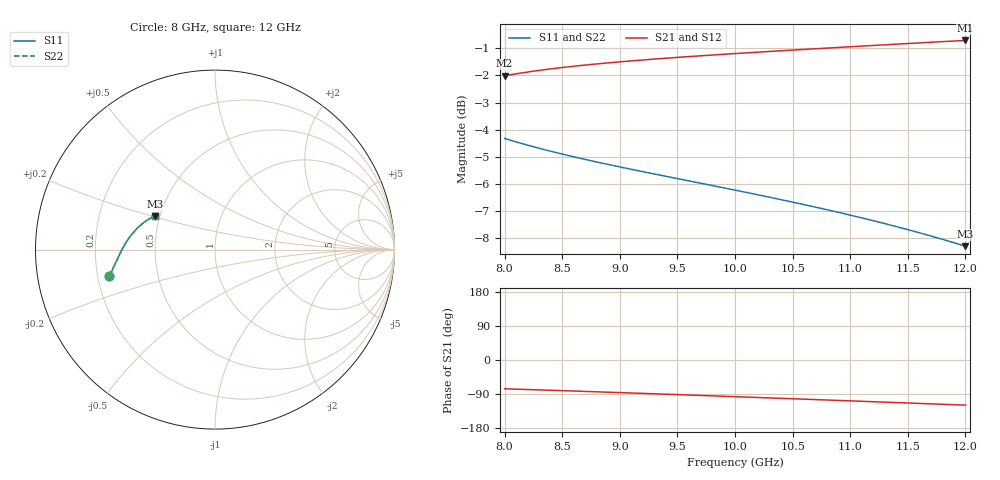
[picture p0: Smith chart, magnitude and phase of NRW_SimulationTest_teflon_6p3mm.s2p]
! Touchstone file exported from HFSS 2025.1.0
!  File:  C:/Users/njchorda/Downloads/NRW_SimulationTest.aedt
!  Generated:  02:25:31 AM Mar  2, 2026
!  Design:  HFSSDesign1
!  Project:  NRW_SimulationTest
!  Setup:  Setup1
!  Solution:  Sweep
! Variables:
!  Lfeed = 10mm
!  a = 22.86mm
!  b = 10.16mm
!  d = 6.3mm
!Data is not renormalized
# GHz S MA
! Terminal data exported
! Port[1] = 1
! Port[2] = 2
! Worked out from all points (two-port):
!   401 points, 8 GHz to 12 GHz, reference per port
!   highest |S21| = -0.70 dB at 12 GHz (marker M1); lowest = -2.0 dB at 8 GHz (marker M2)
!   |S21| within 3 dB of the highest: start of sweep to end of sweep
!   lowest |S11| = -8.3 dB at 12 GHz (marker M3), VSWR 2.25
!   |S11| at or under -10 dB: nowhere
!   |S22| runs from -8.3 to -4.3 dB; largest |S21 - S12| = 1.6e-14
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8  0.6073 -166.1  0.7934 -76.0  0.7934 -76.0  0.6073 -166.1
! Gamma 0 96.0523868093574 0 96.0524692737329
! Port Impedance 584.541451814304 0 584.535551075933 0
8.02  0.6055 -166.3  0.7948 -76.2  0.7948 -76.2  0.6055 -166.3
8.11  0.5976 -167.1  0.8007 -77.0  0.8007 -77.0  0.5976 -167.1
8.29  0.5832 -168.8  0.8112 -78.8  0.8112 -78.8  0.5832 -168.8
8.48  0.5696 -170.7  0.8209 -80.6  0.8209 -80.6  0.5696 -170.7
8.67  0.5573 -172.7  0.8293 -82.6  0.8293 -82.6  0.5573 -172.7
8.83  0.5476 -174.3  0.8357 -84.2  0.8357 -84.2  0.5476 -174.3
9  0.538 -176.1  0.8419 -86.0  0.8419 -86.0  0.538 -176.1
9.17  0.5288 -177.9  0.8477 -87.8  0.8477 -87.8  0.5288 -177.9
9.34  0.52 -179.7  0.8532 -89.6  0.8532 -89.6  0.52 -179.7
9.67  0.5034 176.8  0.863 -93.2  0.863 -93.2  0.5034 176.8
10  0.4874 173.2  0.8722 -96.7  0.8722 -96.7  0.4874 173.2
10.33  0.4714 169.6  0.8808 -100.4  0.8808 -100.4  0.4714 169.6
10.5  0.4631 167.7  0.8852 -102.2  0.8852 -102.2  0.4631 167.7
10.67  0.4547 165.8  0.8895 -104.1  0.8895 -104.1  0.4547 165.8
11.01  0.4376 162.0  0.8981 -107.9  0.8981 -107.9  0.4376 162.0
11.34  0.4204 158.3  0.9064 -111.6  0.9064 -111.6  0.4204 158.3
11.5  0.4118 156.5  0.9104 -113.4  0.9104 -113.4  0.4118 156.5
11.66  0.4031 154.7  0.9144 -115.2  0.9144 -115.2  0.4031 154.7
11.82  0.3941 152.9  0.9182 -117.0  0.9182 -117.0  0.3941 152.9
11.98  0.3849 151.1  0.9218 -118.9  0.9218 -118.9  0.3849 151.1
12  0.3838 150.8  0.9223 -119.1  0.9223 -119.1  0.3838 150.9
